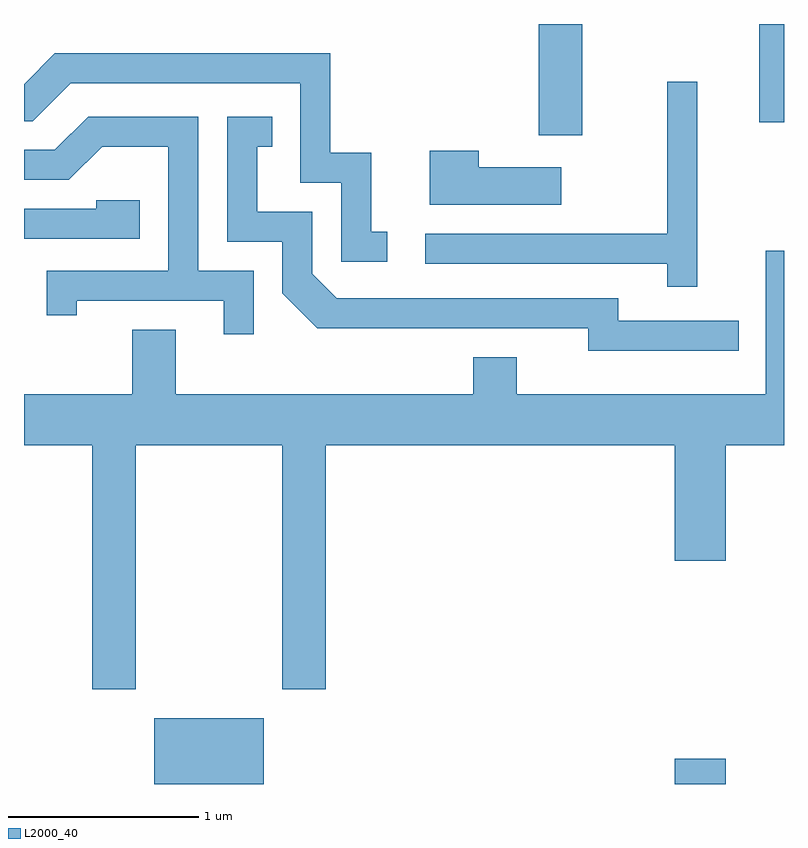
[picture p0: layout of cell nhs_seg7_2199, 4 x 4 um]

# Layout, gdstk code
import gdstk
lib = gdstk.Library(unit=1e-6, precision=1e-09)
def R(c, l, rs):  # rectangles x0, y0, x1, y1
    for r in rs: c.add(gdstk.rectangle(r[:2], r[2:], *l))
def P(c, l, *ps):  # polygons
    for p in ps: c.add(gdstk.Polygon(p, *l))
L2000_40 = (2000, 40)

nhs_seg7_2199 = lib.new_cell('nhs_seg7_2199')
R(nhs_seg7_2199, L2000_40, [(252.296,1770.252,252.874,1770.599), (255.036,1770.252,255.304,1770.384), (254.321,1773.666,254.549,1774.252), (255.481,1773.736,255.611,1774.252)])
P(nhs_seg7_2199, L2000_40, [(253.523,1773.159),(253.439,1773.159),(253.439,1773.574),(253.224,1773.574),(253.224,1774.099),(251.774,1774.099),(251.611,1773.936),(251.611,1773.741),(251.657,1773.741),(251.857,1773.941),(253.066,1773.941),(253.066,1773.416),(253.281,1773.416),(253.281,1773.001),(253.523,1773.001)],
  [(255.154,1773.948),(254.996,1773.948),(254.996,1773.149),(253.723,1773.149),(253.723,1772.991),(254.996,1772.991),(254.996,1772.868),(255.154,1772.868)],
  [(252.819,1772.954),(252.529,1772.954),(252.529,1773.764),(251.949,1773.764),(251.774,1773.589),(251.611,1773.589),(251.611,1773.431),(251.847,1773.431),(252.022,1773.606),(252.371,1773.606),(252.371,1772.954),(251.731,1772.954),(251.731,1772.718),(251.889,1772.718),(251.889,1772.796),(252.661,1772.796),(252.661,1772.618),(252.819,1772.618)],
  [(255.373,1772.689),(254.739,1772.689),(254.739,1772.809),(253.257,1772.809),(253.129,1772.937),(253.129,1773.264),(252.839,1773.264),(252.839,1773.606),(252.918,1773.606),(252.918,1773.764),(252.681,1773.764),(252.681,1773.106),(252.971,1773.106),(252.971,1772.834),(253.154,1772.651),(254.581,1772.651),(254.581,1772.531),(255.373,1772.531)],
  [(254.439,1773.499),(254.004,1773.499),(254.004,1773.584),(253.746,1773.584),(253.746,1773.301),(254.439,1773.301)],
  [(252.219,1773.324),(251.991,1773.324),(251.991,1773.279),(251.611,1773.279),(251.611,1773.121),(252.219,1773.121)],
  [(252.199,1772.036),(252.971,1772.036),(252.971,1770.751),(253.199,1770.751),(253.199,1772.036),(255.036,1772.036),(255.036,1771.426),(255.304,1771.426),(255.304,1772.036),(255.611,1772.036),(255.611,1773.058),(255.516,1773.058),(255.516,1772.304),(254.204,1772.304),(254.204,1772.499),(253.976,1772.499),(253.976,1772.304),(252.409,1772.304),(252.409,1772.644),(252.181,1772.644),(252.181,1772.304),(251.611,1772.304),(251.611,1772.036),(251.971,1772.036),(251.971,1770.751),(252.199,1770.751)])

lib.write_gds('nhs_seg7_2199.gds')
